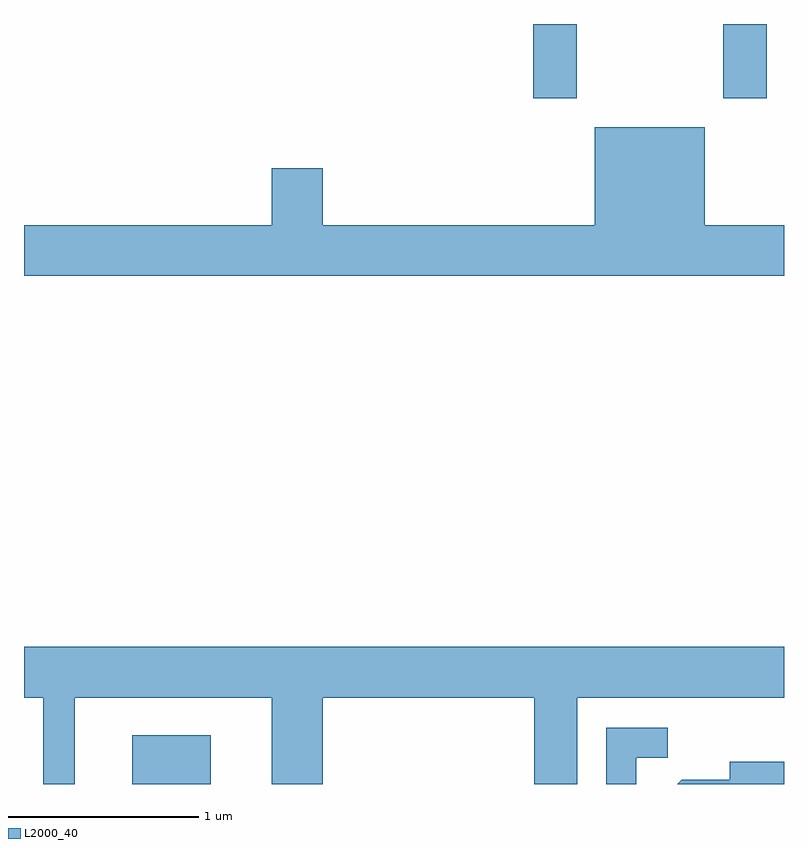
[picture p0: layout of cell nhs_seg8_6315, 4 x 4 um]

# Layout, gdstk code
import gdstk
lib = gdstk.Library(unit=1e-6, precision=1e-09)
def R(c, l, rs):  # rectangles x0, y0, x1, y1
    for r in rs: c.add(gdstk.rectangle(r[:2], r[2:], *l))
def P(c, l, *ps):  # polygons
    for p in ps: c.add(gdstk.Polygon(p, *l))
L2000_40 = (2000, 40)

nhs_seg8_6315 = lib.new_cell('nhs_seg8_6315')
R(nhs_seg8_6315, L2000_40, [(374.181,1900.342,374.594,1900.599), (376.291,1903.951,376.519,1904.342), (377.291,1903.951,377.519,1904.342)])
P(nhs_seg8_6315, L2000_40, [(376.616,1903.799),(376.616,1903.284),(375.184,1903.284),(375.184,1903.584),(374.916,1903.584),(374.916,1903.284),(373.611,1903.284),(373.611,1903.016),(377.611,1903.016),(377.611,1903.284),(377.194,1903.284),(377.194,1903.799)],
  [(373.879,1900.796),(374.916,1900.796),(374.916,1900.342),(375.184,1900.342),(375.184,1900.796),(376.296,1900.796),(376.296,1900.342),(376.524,1900.342),(376.524,1900.796),(377.611,1900.796),(377.611,1901.064),(373.611,1901.064),(373.611,1900.796),(373.711,1900.796),(373.711,1900.342),(373.879,1900.342)],
  [(376.834,1900.481),(376.998,1900.481),(376.998,1900.639),(376.676,1900.639),(376.676,1900.342),(376.834,1900.342)],
  [(377.611,1900.459),(377.326,1900.459),(377.326,1900.364),(377.072,1900.364),(377.05,1900.342),(377.611,1900.342)])

lib.write_gds('nhs_seg8_6315.gds')
